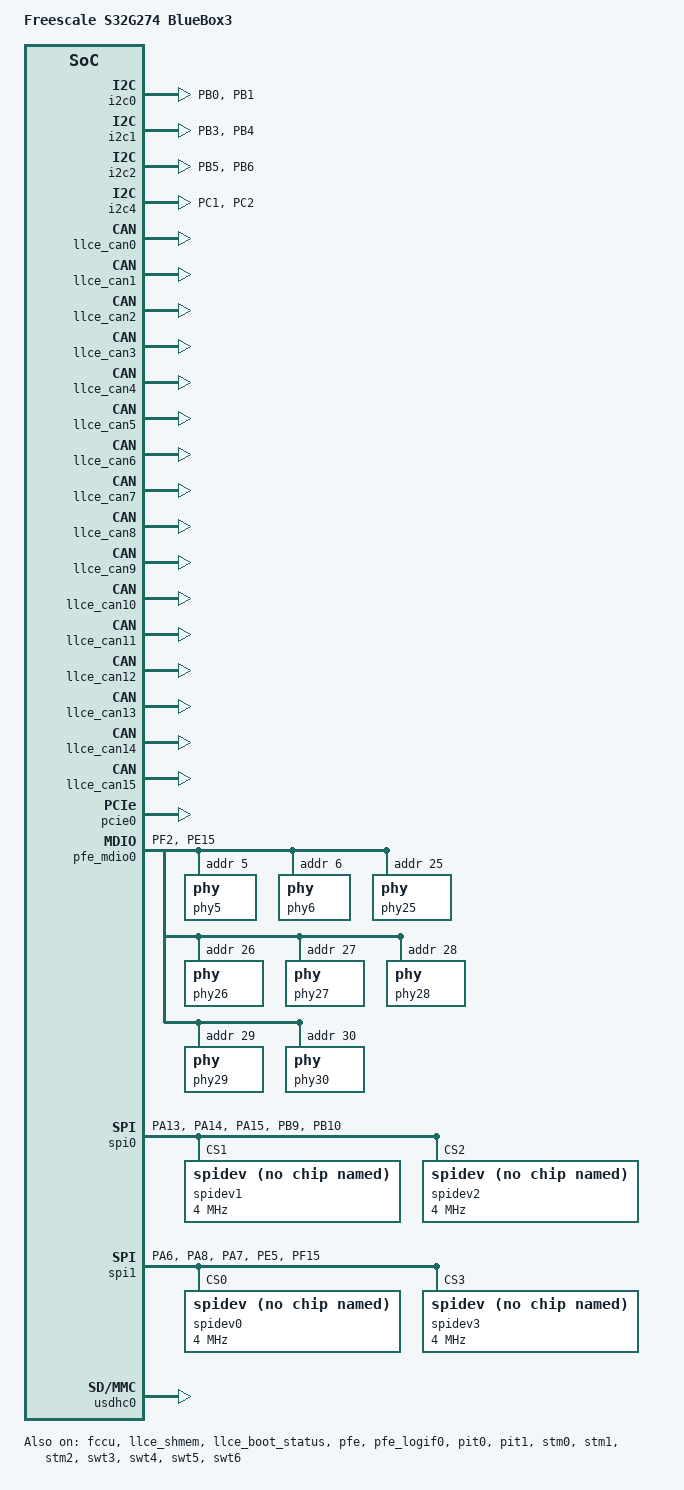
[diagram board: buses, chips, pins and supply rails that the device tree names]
// SPDX-License-Identifier: GPL-2.0-or-later
/*
 * Copyright 2020-2021 NXP
 */

/dts-v1/;
#include "fsl-s32g274a.dtsi"
#include <dt-bindings/pinctrl/s32g274-pinctrl.h>
/ {
	model = "Freescale S32G274 BlueBox3";
	compatible = "fsl,s32g274-simu", "arm,vexpress";

	chosen {
		stdout-path = "serial0:115200n8";
	};
};

&edma0 {
	status = "okay";
};

&edma1 {
	status = "okay";
};

&fccu {
	status = "okay";
};

&fxosc {
	clock-frequency = <40000000>;
};

&generic_timer {
	clock-frequency = <5000000>;
};

&gmac0 {
	status = "disabled";
};

&gpio0 {
	pinctrl-names = "default";
	pinctrl-0 = <&pinctrl_gpio0>;
	status = "okay";
};

&gpio1 {
	pinctrl-names = "default";
	pinctrl-0 = <&pinctrl_gpioeirq>;
	status = "okay";
};

&i2c0 {
	pinctrl-names = "default";
	pinctrl-0 = <&pinctrl0_i2c0>;
	status = "okay";
};

&i2c1 {
	pinctrl-names = "default";
	pinctrl-0 = <&pinctrl0_i2c1>, <&pinctrl1_i2c1>;
	status = "okay";
};

&i2c2 {
	pinctrl-names = "default";
	pinctrl-0 = <&pinctrl0_i2c2>, <&pinctrl1_i2c2>;
	status = "okay";
};

&i2c4 {
	pinctrl-names = "default";
	pinctrl-0 = <&pinctrl0_i2c4>, <&pinctrl1_i2c4>;
	status = "okay";
};

&llce0_sram {
	status = "okay";
};

&llce1_sram {
	status = "okay";
};

&llce2_sram {
	status = "okay";
};

&llce3_sram {
	status = "okay";
};

&llce_shmem {
	status = "okay";
};

&llce_boot_status {
	status = "okay";
};

&llce_can0 {
	status = "okay";
};

&llce_can1 {
	status = "okay";
};

&llce_can2 {
	status = "okay";
};

&llce_can3 {
	status = "okay";
};

&llce_can4 {
	status = "okay";
};

&llce_can5 {
	status = "okay";
};

&llce_can6 {
	status = "okay";
};

&llce_can7 {
	status = "okay";
};

&llce_can8 {
	status = "okay";
};

&llce_can9 {
	status = "okay";
};

&llce_can10 {
	status = "okay";
};

&llce_can11 {
	status = "okay";
};

&llce_can12 {
	status = "okay";
};

&llce_can13 {
	status = "okay";
};

&llce_can14 {
	status = "okay";
};

&llce_can15 {
	status = "okay";
};

&pcie0 {
	status = "okay";
};

&pfe {
	status = "okay";
	memory-region = <&pfe_reserved>;
};

&pfe_logif0 {
	status = "okay";

	fixed-link {
		speed = <1000>;
		full-duplex;
	};
};

&pfe_mdio0 {
	pinctrl-names = "default";
	pinctrl-0 = <&pinctrl0_pfe0_mdio>, <&pinctrl1_pfe0_mdio>;
	status = "okay";

	phy5: phy@5 {
		reg = <5>;
	};

	phy6: phy@6 {
		reg = <6>;
	};

	phy25: phy@25 {
		reg = <25>;
	};

	phy26: phy@26 {
		reg = <26>;
	};

	phy27: phy@27 {
		reg = <27>;
	};

	phy28: phy@28 {
		reg = <28>;
	};

	phy29: phy@29 {
		reg = <29>;
	};

	phy30: phy@30 {
		reg = <30>;
	};
};

&pinctrl0 {
	status = "okay";
	s32g274a-evb {
		pinctrl0_dspi0: dsp0grp {
			fsl,pins = <
				S32_GEN1_PAD_PA13__SPI0_SCK_OUT
				S32_GEN1_PAD_PA14__SPI0_SIN_OUT
				S32_GEN1_PAD_PA15__SPI0_SOUT_OUT
				S32_GEN1_PAD_PB9__SPI0_CS1_OUT
				S32_GEN1_PAD_PB10__SPI0_CS2_OUT
			>;
		};

		pinctrl0_dspi1: dspi1grp {
			fsl,pins = <
				S32_GEN1_PAD_PA6__SPI1_SOUT_OUT
				S32_GEN1_PAD_PA8__SPI1_SCK_OUT
				S32_GEN1_PAD_PA7__SPI1_CS0_OUT
				S32_GEN1_PAD_PE5__SPI1_CS3_OUT
				S32_GEN1_PAD_PF15__SPI1_SIN_OUT
			>;
		};

		pinctrl0_i2c0: i2c0grp {
			fsl,pins = <
				S32_GEN1_PAD_PB0__I2C0_DATA_OUT
				S32_GEN1_PAD_PB0__I2C0_DATA_IN
				S32_GEN1_PAD_PB1__I2C0_SCLK_OUT
				S32_GEN1_PAD_PB1__I2C0_SCLK_IN
			>;
		};

		pinctrl0_i2c1: i2c1grp {
			fsl,pins = <
				S32_GEN1_PAD_PB3__I2C1_SCLK_OUT
				S32_GEN1_PAD_PB4__I2C1_DATA_OUT
			>;
		};

		pinctrl0_i2c2: i2c2grp {
			fsl,pins = <
				S32_GEN1_PAD_PB5__I2C2_SCLK_OUT
				S32_GEN1_PAD_PB6__I2C2_DATA_OUT
			>;
		};

		pinctrl0_i2c4: i2c4grp {
			fsl,pins = <
				S32_GEN1_PAD_PC1__I2C4_DATA_OUT
				S32_GEN1_PAD_PC2__I2C4_SCLK_OUT
			>;
		};

		pinctrl_gpio0: gpiogrp0 {
			fsl,pins = <
				S32_GEN1_PAD_PA9__SIUL_GPIO9
				S32_GEN1_PAD_PA11__SIUL_GPIO11
				S32_GEN1_PAD_PB7__SIUL_GPIO23
				S32_GEN1_PAD_PB8__SIUL_GPIO24
				S32_GEN1_PAD_PB11__SIUL_GPIO27
				S32_GEN1_PAD_PB12__SIUL_GPIO28
				S32_GEN1_PAD_PB13__SIUL_GPIO29
				S32_GEN1_PAD_PB14__SIUL_GPIO30
				S32_GEN1_PAD_PB15__SIUL_GPIO31
				S32_GEN1_PAD_PC6__SIUL_GPIO38
				S32_GEN1_PAD_PD12__SIUL_GPIO60
				S32_GEN1_PAD_PD13__SIUL_GPIO61
				S32_GEN1_PAD_PD14__SIUL_GPIO62
				S32_GEN1_PAD_PD15__SIUL_GPIO63
				S32_GEN1_PAD_PE2__SIUL_GPIO66
				S32_GEN1_PAD_PE3__SIUL_GPIO67
				S32_GEN1_PAD_PE14__SIUL_GPIO78
				S32_GEN1_PAD_PF0__SIUL_GPIO80
			>;
		};

		pinctrl0_pfe0_mdio: pfe0mdiogrp {
			fsl,pins = <
				S32_G274_PAD_PF2__PFE0_MDC
				S32_G274_PAD_PE15__PFE0_MDIO_OUT
			>;
		};
	};
};

&pinctrl1 {
	status = "okay";
	s32g274a-evb {

		pinctrl1_dspi0: dspi0grp {
			fsl,pins = <
				S32_GEN1_PAD_PA14__SPI0_SIN_IN
			>;
		};

		pinctrl1_dspi1: dspi1grp {
			fsl,pins = <
				S32_GEN1_PAD_PF15__SPI1_SIN_IN
			>;
		};

		pinctrl1_i2c1: i2c1grp {
			fsl,pins = <
				S32_GEN1_PAD_PB3__I2C1_SCLK_IN
				S32_GEN1_PAD_PB4__I2C1_DATA_IN
			>;
		};

		pinctrl1_i2c2: i2c2grp {
			fsl,pins = <
				S32_GEN1_PAD_PB5__I2C2_SCLK_IN
				S32_GEN1_PAD_PB6__I2C2_DATA_IN
			>;
		};

		pinctrl1_i2c4: i2c4grp {
			fsl,pins = <
				S32_GEN1_PAD_PC1__I2C4_DATA_IN
				S32_GEN1_PAD_PC2__I2C4_SCLK_IN
			>;
		};

		pinctrl_gpio1: gpiogrp1 {
			fsl,pins = <
				S32_GEN1_PAD_PH0__SIUL_GPIO112
				S32_GEN1_PAD_PH1__SIUL_GPIO113
				S32_GEN1_PAD_PH2__SIUL_GPIO114
				S32_GEN1_PAD_PH3__SIUL_GPIO115
				S32_GEN1_PAD_PH6__SIUL_GPIO118
				S32_GEN1_PAD_PH10__SIUL_GPIO122
				S32_GEN1_PAD_PJ0__SIUL_GPIO144
				S32_GEN1_PAD_PL10__SIUL_GPIO186
				S32_GEN1_PAD_PL11__SIUL_GPIO187
				S32_GEN1_PAD_PL12__SIUL_GPIO188
				S32_GEN1_PAD_PL13__SIUL_GPIO189
				S32_GEN1_PAD_PL14__SIUL_GPIO190
				>;
		};

		pinctrl_gpioeirq: gpioeirqgrp {
			fsl,pins = <
				S32_GEN1_PAD_PB7__SIUL_EIRQ4
				S32_GEN1_PAD_PB8__SIUL_EIRQ5
				S32_GEN1_PAD_PB11__SIUL_EIRQ8
				S32_GEN1_PAD_PB12__SIUL_EIRQ9
				S32_GEN1_PAD_PB15__SIUL_EIRQ12
				>;
		};

		pinctrl1_pfe0_mdio: pfe0mdiogrp {
			fsl,pins = <
				S32_G274_PAD_PE15__PFE0_MDIO_IN
			>;
		};
	};
};

&pit0 {
	status = "okay";
};

&pit1 {
	status = "okay";
};

&spi0 {
	pinctrl-names = "default";
	pinctrl-0 = <&pinctrl0_dspi0>, <&pinctrl1_dspi0>;
	#address-cells = <1>;
	#size-cells = <0>;
	status = "okay";

	spidev1: spidev@1 {
		compatible = "rohm,dh2228fv";
		spi-max-frequency = <4000000>;
		reg = <1>;
	};

	spidev2: spidev@2 {
		compatible = "rohm,dh2228fv";
		spi-max-frequency = <4000000>;
		reg = <2>;
	};
};

&spi1 {
	pinctrl-names = "default";
	pinctrl-0 = <&pinctrl0_dspi1>, <&pinctrl1_dspi1>;
	#address-cells = <1>;
	#size-cells = <0>;
	status = "okay";

	spidev0: spidev@0 {
		compatible = "rohm,dh2228fv";
		spi-max-frequency = <4000000>;
		reg = <0>;
	};

	spidev3: spidev@3 {
		compatible = "rohm,dh2228fv";
		spi-max-frequency = <4000000>;
		reg = <3>;
	};
};

&stm0 {
	status = "okay";
};

&stm1 {
	status = "okay";
};

&stm2 {
	status = "okay";
};

&swt3 {
	status = "okay";
};

&swt4 {
	status = "okay";
};

&swt5 {
	status = "okay";
};

&swt6 {
	status = "okay";
};

&usdhc0 {
	status = "okay";
};
